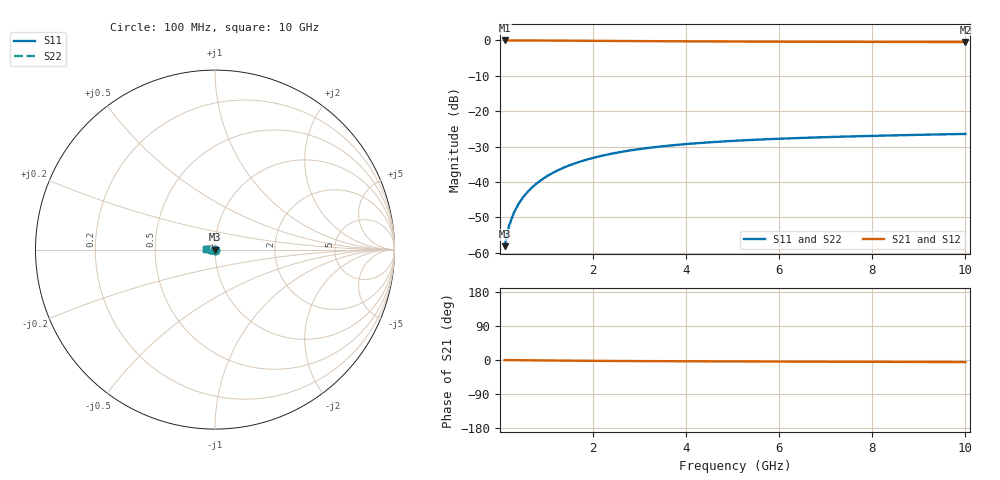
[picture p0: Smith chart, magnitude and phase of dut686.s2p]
! Touchstone file exported from HFSS 2024.1.0
!  File:  C:/UserFiles/LocalFiles/RDL_TSV_Batchsim/temp_TSV1_686_1779795742.aedt
!  Generated:  07:47:16 PM May 26, 2026
!  Design:  TSV1
!  Project:  temp_TSV1_686_1779795742
!  Setup:  Setup1
!  Solution:  Sweep
! Variables:
!  dtsv = 9.36um
!  hbump = 3um
!  htsv = 86.38um
!  lrdl = 252.1521522um
!  p = 40
!  p1 = 47.76um
!  t = 500um
!  trdl = 3um
!  wrdl = 24.89489489um
# GHz S MA R 50.000000
! Terminal data exported
! Port[1] = TSV22_T1
! Port[2] = TSV22_T2
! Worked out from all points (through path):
!   100 points, 100 MHz to 10 GHz, reference 50 ohm
!   highest |S21| = 0.00 dB at 100 MHz (marker M1); lowest = -0.4 dB at 10 GHz (marker M2)
!   lowest |S11| = -58.2 dB at 100 MHz (marker M3), VSWR 1.00, Z = 50 - j0.123 ohm
!   |S11| at or under -10 dB: start of sweep to end of sweep
!   |S22| runs from -58.2 to -26.4 dB; largest |S21 - S12| = 2.2e-15
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0.1  0.001234 -83.6  0.9998 -0.1  0.9998 -0.1  0.001234 -83.6
! Gamma 0 0 0 0
! Port Impedance 50 0 50 0
0.2  0.002453 -89.2  0.9997 -0.3  0.9997 -0.3  0.002453 -89.2
0.3  0.003675 -92.3  0.9995 -0.4  0.9995 -0.4  0.003675 -92.3
0.4  0.004894 -94.7  0.9992 -0.5  0.9992 -0.5  0.004894 -94.7
0.5  0.006105 -96.8  0.9988 -0.6  0.9988 -0.6  0.006105 -96.8
0.6  0.007304 -98.9  0.9984 -0.8  0.9984 -0.8  0.007304 -98.9
0.7  0.008488 -100.8  0.9979 -0.9  0.9979 -0.9  0.008488 -100.8
0.8  0.009655 -102.7  0.9974 -1.0  0.9974 -1.0  0.009656 -102.7
0.9  0.0108 -104.5  0.9968 -1.1  0.9968 -1.1  0.0108 -104.5
1.1  0.01304 -108.0  0.9955 -1.3  0.9955 -1.3  0.01304 -108.0
1.4  0.01621 -113.0  0.9932 -1.6  0.9932 -1.6  0.01621 -113.0
1.6  0.0182 -116.1  0.9915 -1.8  0.9915 -1.8  0.0182 -116.1
1.8  0.02007 -119.2  0.9898 -2.0  0.9898 -2.0  0.02007 -119.2
2.1  0.02269 -123.5  0.987 -2.3  0.987 -2.3  0.02269 -123.5
2.5  0.02579 -128.9  0.9834 -2.6  0.9834 -2.6  0.0258 -128.9
2.9  0.02851 -133.9  0.9799 -2.8  0.9799 -2.8  0.02851 -133.9
3.4  0.03141 -139.5  0.9757 -3.1  0.9757 -3.1  0.03141 -139.5
4.2  0.03512 -147.3  0.97 -3.5  0.97 -3.5  0.03512 -147.3
5.1  0.0383 -154.8  0.9648 -3.8  0.9648 -3.8  0.0383 -154.8
6.7  0.04234 -165.6  0.958 -4.4  0.958 -4.4  0.04234 -165.6
8.4  0.04539 -174.8  0.9532 -4.9  0.9532 -4.9  0.0454 -174.7
10  0.04769 178.0  0.9501 -5.5  0.9501 -5.5  0.04769 178.0
